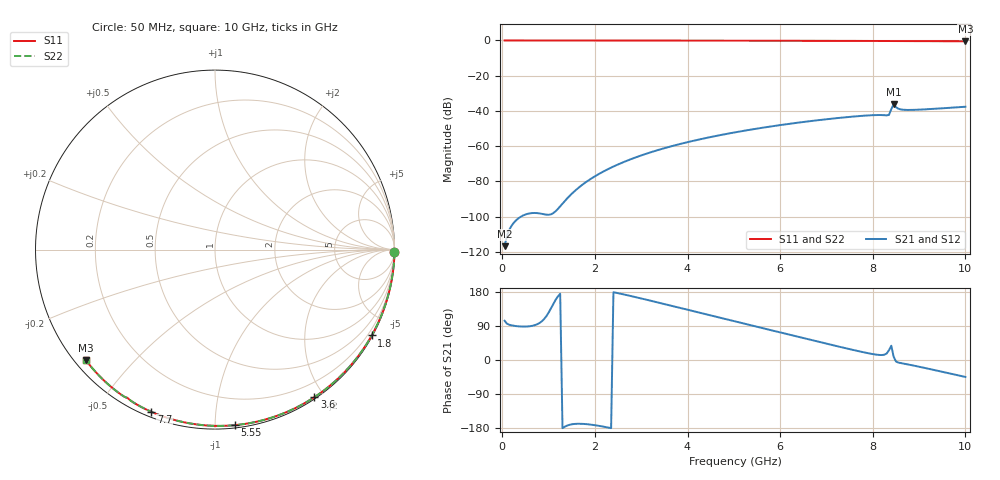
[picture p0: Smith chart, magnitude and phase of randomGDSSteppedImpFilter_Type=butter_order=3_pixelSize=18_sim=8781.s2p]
! freq	dB(S11)	phase(S11)	dB(S12)	phase(S12)
!  dB(S21)	phase(S21)	dB(S22)	phase(S22)
!S-par simulation data
#  GHz  S  DB  R 50
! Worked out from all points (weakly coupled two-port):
!   200 points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, 50 MHz to 10 GHz, reference 50 ohm
!   highest |S21| = -36.26 dB at 8.45 GHz (marker M1); lowest = -116.8 dB at 50 MHz (marker M2)
!   lowest |S11| = -0.5 dB at 10 GHz (marker M3), VSWR 36.74, Z = 1.55 - j18.4 ohm
!   |S11| at or under -10 dB: nowhere
!   |S22| runs from -0.5 to 0.0 dB; largest |S21 - S12| = 0
!   S11 on the Smith chart (normalised r, x): 50 MHz: open; 1.8 GHz: 0.03, -3.91; 3.6 GHz: 0.02, -1.88; 5.55 GHz: 0.02, -1.12; 7.7 GHz: 0.02, -0.68; 10 GHz: 0.03, -0.37
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0.05  -0.00 -0.8  -116.82 103.5  -116.82 103.5  -0.00 -0.8
0.9  -0.02 -14.5  -98.71 107.7  -98.71 107.7  -0.02 -14.5
1.75  -0.04 -27.9  -81.52 -168.6  -81.52 -168.6  -0.04 -27.9
1.8  -0.04 -28.7  -80.57 -169.1  -80.57 -169.1  -0.04 -28.7
1.85  -0.04 -29.5  -79.66 -169.7  -79.66 -169.7  -0.04 -29.5
2.25  -0.05 -35.7  -73.51 -177.4  -73.51 -177.4  -0.05 -35.7
2.55  -0.05 -40.3  -69.83 175.0  -69.83 175.0  -0.05 -40.3
2.95  -0.06 -46.4  -65.75 163.9  -65.75 163.9  -0.06 -46.4
3.4  -0.07 -53.1  -61.93 150.6  -61.93 150.6  -0.07 -53.1
3.6  -0.08 -56.0  -60.44 144.7  -60.44 144.7  -0.08 -56.0
4.3  -0.09 -66.2  -55.95 123.6  -55.95 123.6  -0.09 -66.2
5.05  -0.12 -76.7  -52.06 101.1  -52.06 101.1  -0.12 -76.7
5.55  -0.14 -83.5  -49.85 86.2  -49.85 86.2  -0.14 -83.5
6.7  -0.19 -98.7  -45.65 52.0  -45.65 52.0  -0.19 -98.7
7.7  -0.26 -111.4  -42.95 23.1  -42.95 23.1  -0.26 -111.4
8.35  -0.33 -119.6  -42.28 25.9  -42.28 25.9  -0.33 -119.6
8.45  -0.36 -120.6  -36.26 9.0  -36.26 9.0  -0.36 -120.6
8.5  -0.34 -121.1  -37.88 -3.8  -37.88 -3.8  -0.34 -121.1
8.55  -0.33 -121.8  -38.74 -6.7  -38.74 -6.7  -0.33 -121.7
8.7  -0.34 -123.7  -39.43 -10.3  -39.43 -10.3  -0.34 -123.7
9.1  -0.37 -128.6  -39.16 -20.3  -39.16 -20.3  -0.37 -128.6
10  -0.47 -139.5  -37.64 -44.8  -37.64 -44.8  -0.47 -139.5
